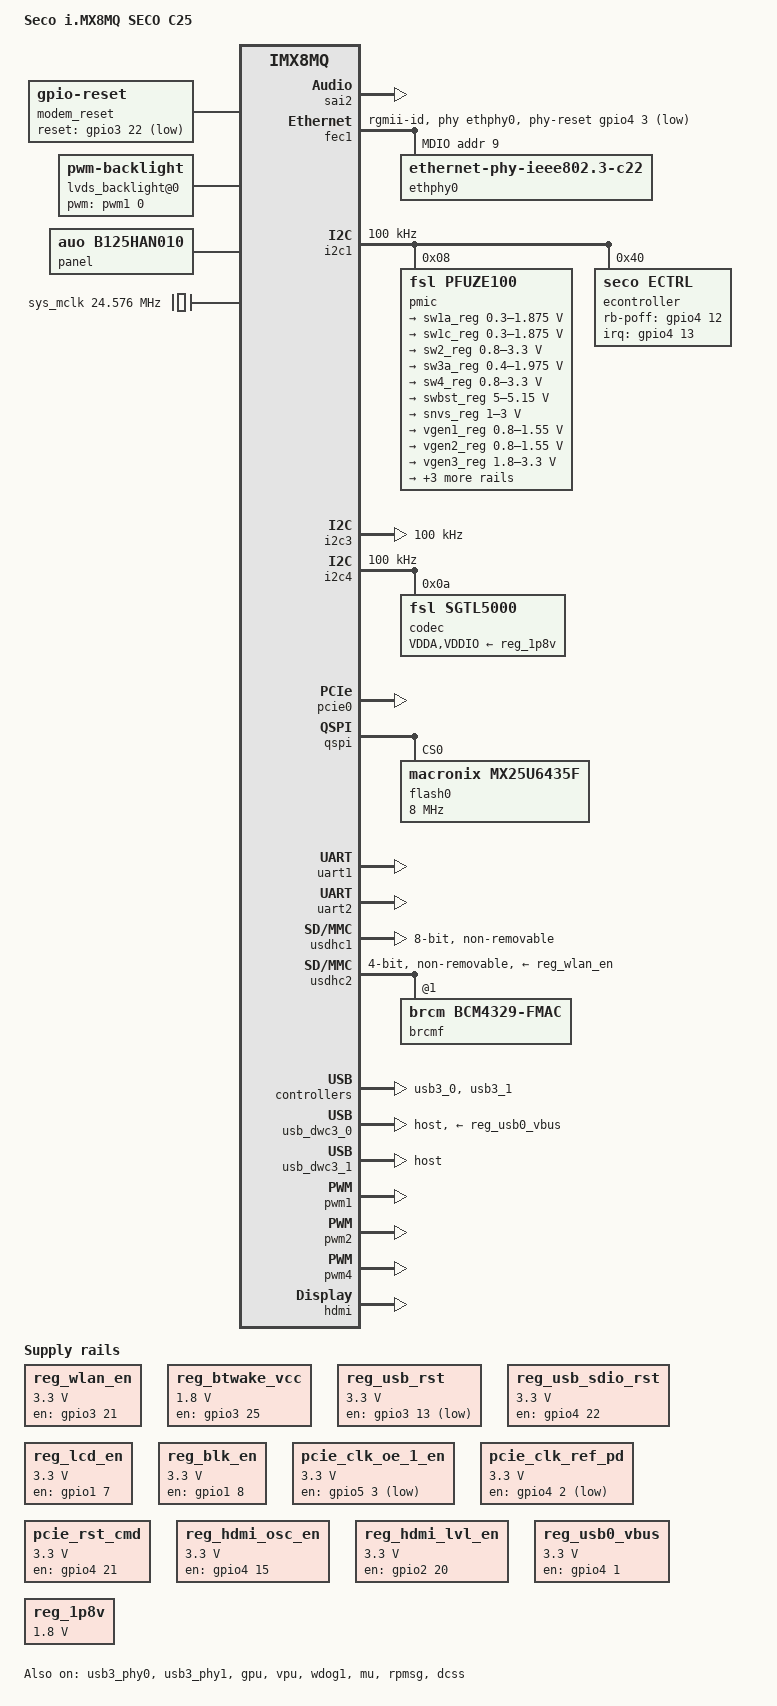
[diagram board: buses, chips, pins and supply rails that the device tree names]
/*
 * Copyright 2017 NXP
 *
 * This program is free software; you can redistribute it and/or
 * modify it under the terms of the GNU General Public License
 * as published by the Free Software Foundation; either version 2
 * of the License, or (at your option) any later version.
 *
 * This program is distributed in the hope that it will be useful,
 * but WITHOUT ANY WARRANTY; without even the implied warranty of
 * MERCHANTABILITY or FITNESS FOR A PARTICULAR PURPOSE.  See the
 * GNU General Public License for more details.
 */

/dts-v1/;

#include "fsl-imx8mq.dtsi"
#include "dt-bindings/net/ti-dp83867.h"
#include "dt-bindings/seco/ectrl.h"

/ {
	model = "Seco i.MX8MQ SECO C25";
	compatible = "fsl,imx8mq-evk", "fsl,seco-imx8mq-c25" , "fsl,imx8mq";

	chosen {
		bootargs = "console=ttymxc0,115200 earlycon=ec_imx6q,0x30860000,115200";
		stdout-path = &uart1;
	};

	aliases {
		i2c0 = &i2c1;
		i2c1 = &i2c2;
		i2c2 = &i2c3;
		i2c3 = &i2c4;
	};

	regulators {
		compatible = "simple-bus";
		#address-cells = <1>;
		#size-cells = <0>;

		modem_reset: modem-reset {
			compatible = "gpio-reset";
			reset-gpios = <&gpio3 22 GPIO_ACTIVE_LOW>;
			reset-delay-us = <2000>;
			reset-post-delay-ms = <40>;
			#reset-cells = <0>;
                };

		reg_wlan_en: wlanen_vmmc {
			compatible = "regulator-fixed";
			regulator-name = "WLANEN_3V3";
			regulator-min-microvolt = <3300000>;
			regulator-max-microvolt = <3300000>;
			gpio = <&gpio3 21 GPIO_ACTIVE_HIGH>;
			enable-active-high;
		};
			
		reg_btwake_vcc: btwake_vcc {
                        compatible = "regulator-fixed";
                        regulator-name = "BTWAKE_1V8";
                        regulator-min-microvolt = <1800000>;
                        regulator-max-microvolt = <1800000>;
                        gpio = <&gpio3 25 GPIO_ACTIVE_HIGH>;
                        enable-active-high;
                        regulator-boot-on;
                        regulator-always-on;
                };


		reg_usb_rst: usb_rst {
                        compatible = "regulator-fixed";
                        regulator-name = "USB_RST";
                        regulator-min-microvolt = <3300000>;
                        regulator-max-microvolt = <3300000>;
                        gpio = <&gpio3 13 GPIO_ACTIVE_LOW>;
                        enable-active-low;
			regulator-boot-on;
                        regulator-always-on;
                };

		reg_usb_sdio_rst: usb_sdio_rst {
                        compatible = "regulator-fixed";
                        regulator-name = "USB_SDIO_RST";
                        regulator-min-microvolt = <3300000>;
                        regulator-max-microvolt = <3300000>;
                        gpio = <&gpio4 22 GPIO_ACTIVE_HIGH>;
                        enable-active-high;
			regulator-boot-on;
                        regulator-always-on;
                };

		reg_lcd_en: reg_lcd_vdd_en {
                        compatible = "regulator-fixed";
                        regulator-name = "LCD_VDD_EN";
                        regulator-min-microvolt = <3300000>;
                        regulator-max-microvolt = <3300000>;
                        gpio = <&gpio1 7 GPIO_ACTIVE_HIGH>;
                        enable-active-high;
                        regulator-boot-on;
                        regulator-always-on;
                };

                reg_blk_en: reg_blk_vdd_en {
                        compatible = "regulator-fixed";
                        regulator-name = "BLK_VDD_EN";
                        regulator-min-microvolt = <3300000>;
                        regulator-max-microvolt = <3300000>;
                        gpio = <&gpio1 8 GPIO_ACTIVE_HIGH>;
                        enable-active-high;
                        regulator-boot-on;
                        regulator-always-on;
                };

                pcie_clk_oe_1_en: pcie_clk_oe1en {
                        compatible = "regulator-fixed";
                        regulator-name = "PCIE_CLK_OE1_PD";
                        regulator-min-microvolt = <3300000>;
                        regulator-max-microvolt = <3300000>;
                        gpio = <&gpio5 3 GPIO_ACTIVE_LOW>;
                        enable-active-low;
                        regulator-boot-on;
                        regulator-always-on;
                };

                pcie_clk_ref_pd: pcie_clk_ref_vdd {
                        compatible = "regulator-fixed";
                        regulator-name = "PCIE_CLK_REF_PD";
                        regulator-min-microvolt = <3300000>;
                        regulator-max-microvolt = <3300000>;
                        gpio = <&gpio4 2 GPIO_ACTIVE_LOW>;
                        enable-active-low;
                        regulator-boot-on;
                        regulator-always-on;
                };

                pcie_rst_cmd: pcie_rstcmd {
                        compatible = "regulator-fixed";
                        regulator-name = "PCIE_RST_CMD";
                        regulator-min-microvolt = <3300000>;
                        regulator-max-microvolt = <3300000>;
                        gpio = <&gpio4 21 GPIO_ACTIVE_LOW>;
                        enable-active-high;
                        regulator-always-on;
                };

                reg_hdmi_osc_en: reg_hdmi_oscen {
                        compatible = "regulator-fixed";
                        regulator-name = "HDMI_27MHZ_EN";
                        regulator-min-microvolt = <3300000>;
                        regulator-max-microvolt = <3300000>;
                        gpio = <&gpio4 15 GPIO_ACTIVE_HIGH>;
                        enable-active-high;
                };
	
                reg_hdmi_lvl_en: reg_hdmi_lvlen {
                        compatible = "regulator-fixed";
                        regulator-name = "HDMI_LVL_EN";
                        regulator-min-microvolt = <3300000>;
                        regulator-max-microvolt = <3300000>;
                        gpio = <&gpio2 20 GPIO_ACTIVE_HIGH>;
                        enable-active-high;
                };

                reg_usb0_vbus: reg_usb0en {
                        compatible = "regulator-fixed";
                        regulator-name = "USB0_VBUS";
                        regulator-min-microvolt = <3300000>;
                        regulator-max-microvolt = <3300000>;
                        gpio = <&gpio4 1 GPIO_ACTIVE_HIGH>;
                        enable-active-high;
                        regulator-boot-on;
                        regulator-always-on;
                };

		lvds_backlight@0 {
		       compatible = "pwm-backlight";
		       pwms = <&pwm1 0 100000>;

		       brightness-levels = < 0  1  2  3  4  5  6  7  8  9
				     10 11 12 13 14 15 16 17 18 19
				     20 21 22 23 24 25 26 27 28 29
				     30 31 32 33 34 35 36 37 38 39
				     40 41 42 43 44 45 46 47 48 49
				     50 51 52 53 54 55 56 57 58 59
				     60 61 62 63 64 65 66 67 68 69
				     70 71 72 73 74 75 76 77 78 79
				     80 81 82 83 84 85 86 87 88 89
				     90 91 92 93 94 95 96 97 98 99
				    100>;
		       default-brightness-level = <80>;
		};

		panel: edp_panel {
			compatible = "auo,b125han010";
			#address-cells = <2>;
			#size-cells = <1>;

        	};


	};

	busfreq {
		status = "disabled";
	};

        sys_mclk: clock-mclk {
                compatible = "fixed-clock";
                #clock-cells = <0>;
                clock-frequency = <24576000>;
        };

        reg_1p8v: regulator-1p8v {
                compatible = "regulator-fixed";
                regulator-name = "1P8V";
                regulator-min-microvolt = <1800000>;
                regulator-max-microvolt = <1800000>;
                regulator-always-on;
        };

	sound {
                compatible = "seco,asoc-sgtl5000";
                model = "seco_sgtl5000";
                cpu-dai = <&sai2>;
                audio-codec = <&codec>;
                /*asrc-controller = <&asrc0>;*/
                status = "okay";

        };

};

&sai2 {
        pinctrl-names = "default";
        pinctrl-0 = <&pinctrl_sai2>;
        assigned-clocks = <&clk IMX8MQ_CLK_SAI2>,
                        <&clk IMX8MQ_CLK_SAI2>;
        assigned-clock-parents = <&clk IMX8MQ_AUDIO_PLL2_OUT>;
        assigned-clock-rates = <0>, <22579200>;
        status = "okay";
};

&clk {
        assigned-clocks = <&clk IMX8MQ_AUDIO_PLL1>, <&clk IMX8MQ_AUDIO_PLL2>;
        assigned-clock-rates = <786432000>, <722534400>;
};

&iomuxc {
	pinctrl-names = "default";
        pinctrl-0 = <&pinctrl_hog>;

	seco-imx8mq-c25 {
		 pinctrl_hog: hoggrp {
                        fsl,pins = <
				/* HUB RESET */
				MX8MQ_IOMUXC_NAND_DATA07_GPIO3_IO13 	0x19 
				/* USB to SDIO Bridge RESET */
			        MX8MQ_IOMUXC_SAI2_RXC_GPIO4_IO22	0x19
				/* LVDS regulatore*/                            
                                MX8MQ_IOMUXC_SAI5_RXFS_GPIO3_IO19               0x19
                                MX8MQ_IOMUXC_GPIO1_IO07_GPIO1_IO7		0x19 /* MX8MQ_IOMUXC_SAI5_RXD3_GPIO3_IO24               0x19 */
                                MX8MQ_IOMUXC_GPIO1_IO08_GPIO1_IO8               0x19 /* MX8MQ_IOMUXC_SPDIF_EXT_CLK_GPIO5_IO5            0x19 */
                                MX8MQ_IOMUXC_SAI2_RXFS_GPIO4_IO21		0x19
				/* PCIe CLK ref Enable */
				MX8MQ_IOMUXC_SAI1_RXD0_GPIO4_IO2		0x19
				MX8MQ_IOMUXC_SPDIF_TX_GPIO5_IO3			0x19
				/* HDMI 27MHz Enable */
                                MX8MQ_IOMUXC_SAI1_TXD3_GPIO4_IO15               0xe
				/* BT_CFG9 STM32 interrupt */
                                MX8MQ_IOMUXC_SAI1_TXD1_GPIO4_IO13               0x82
                                MX8MQ_IOMUXC_SAI1_TXD0_GPIO4_IO12               0x82
                                MX8MQ_IOMUXC_SAI1_RXD4_GPIO4_IO6                0x82
                                MX8MQ_IOMUXC_GPIO1_IO08_GPIO1_IO8               0x82 /* PMIC_FAULT_INT# */
				
				MX8MQ_IOMUXC_SAI5_RXD1_GPIO3_IO22               0x82
                                MX8MQ_IOMUXC_SAI5_RXD0_GPIO3_IO21               0x19 /* Wlan En */
				MX8MQ_IOMUXC_SAI5_MCLK_GPIO3_IO25               0x19 /* Wlan En */
				
				MX8MQ_IOMUXC_SAI1_TXD7_GPIO4_IO19		0x1 /* SD2_P_EN */
				MX8MQ_IOMUXC_SAI1_RXC_GPIO4_IO1			0x42 /* USB_OTG_PEN */

				/* General GPIO */
				// MX8MQ_IOMUXC_GPIO1_IO02_GPIO1_IO2               0x42 /* GPIO0 */ 
				MX8MQ_IOMUXC_GPIO1_IO03_GPIO1_IO3               0x42 /* GPIO1 */
				MX8MQ_IOMUXC_GPIO1_IO04_GPIO1_IO4               0x42 /* GPIO2 */
				MX8MQ_IOMUXC_GPIO1_IO05_GPIO1_IO5               0x42 /* GPIO3 */
				MX8MQ_IOMUXC_GPIO1_IO06_GPIO1_IO6               0x42 /* GPIO4 */
				MX8MQ_IOMUXC_GPIO1_IO10_GPIO1_IO10              0x42 /* GPIO5 */
				MX8MQ_IOMUXC_GPIO1_IO11_GPIO1_IO11              0x42 /* GPIO6 */
				MX8MQ_IOMUXC_GPIO1_IO12_GPIO1_IO12              0x42 /* GPIO7 */

				MX8MQ_IOMUXC_SD2_WP_GPIO2_IO20			0x82 /* HDMI_LVL */
				MX8MQ_IOMUXC_SAI1_MCLK_GPIO4_IO20		0x19 /* USB_OC# */	
				MX8MQ_IOMUXC_SAI1_TXFS_GPIO4_IO10		0x19 /* BRIDGE_SD_WP_CPU */
				MX8MQ_IOMUXC_SAI3_MCLK_GPIO5_IO2		0x19 /* USB_VBUS_1V8 */

			>;
		};

		pinctrl_fec1: fec1grp {
			fsl,pins = <
				MX8MQ_IOMUXC_ENET_MDC_ENET1_MDC		0x3
				MX8MQ_IOMUXC_ENET_MDIO_ENET1_MDIO	0x23
				MX8MQ_IOMUXC_ENET_TD3_ENET1_RGMII_TD3	0x1f
				MX8MQ_IOMUXC_ENET_TD2_ENET1_RGMII_TD2	0x1f
				MX8MQ_IOMUXC_ENET_TD1_ENET1_RGMII_TD1	0x1f
				MX8MQ_IOMUXC_ENET_TD0_ENET1_RGMII_TD0	0x1f
				MX8MQ_IOMUXC_ENET_RD3_ENET1_RGMII_RD3	0x91
				MX8MQ_IOMUXC_ENET_RD2_ENET1_RGMII_RD2	0x91
				MX8MQ_IOMUXC_ENET_RD1_ENET1_RGMII_RD1	0x91
				MX8MQ_IOMUXC_ENET_RD0_ENET1_RGMII_RD0	0x91
				MX8MQ_IOMUXC_ENET_TXC_ENET1_RGMII_TXC	0x1f
				MX8MQ_IOMUXC_ENET_RXC_ENET1_RGMII_RXC	0x91
				MX8MQ_IOMUXC_ENET_RX_CTL_ENET1_RGMII_RX_CTL	0x91
				MX8MQ_IOMUXC_ENET_TX_CTL_ENET1_RGMII_TX_CTL	0x1f
				/* ENET RESET */
				MX8MQ_IOMUXC_SAI1_RXD1_GPIO4_IO3        0x19
			>;
		};

		pinctrl_i2c1: i2c1grp {
			fsl,pins = <
				MX8MQ_IOMUXC_I2C1_SCL_I2C1_SCL			0x4000007f
				MX8MQ_IOMUXC_I2C1_SDA_I2C1_SDA			0x4000007f
			>;
		};

		pinctrl_i2c2: i2c2grp {
			fsl,pins = <
				MX8MQ_IOMUXC_I2C2_SCL_I2C2_SCL			0x4000007f
				MX8MQ_IOMUXC_I2C2_SDA_I2C2_SDA			0x4000007f
			>;
		};

                pinctrl_i2c3: i2c3grp {
                        fsl,pins = <
                                MX8MQ_IOMUXC_I2C3_SCL_I2C3_SCL                  0x4000007f
                                MX8MQ_IOMUXC_I2C3_SDA_I2C3_SDA                  0x4000007f
                        >;
                };

                pinctrl_i2c4: i2c4grp {
                        fsl,pins = <
                                MX8MQ_IOMUXC_I2C4_SCL_I2C4_SCL                  0x4000007f
                                MX8MQ_IOMUXC_I2C4_SDA_I2C4_SDA                  0x4000007f
                        >;
                };

                pinctrl_sai2: sai2grp {
                        fsl,pins = <
                                MX8MQ_IOMUXC_SAI2_RXD0_SAI2_RX_DATA0    0xd6
                                MX8MQ_IOMUXC_SAI2_TXFS_SAI2_TX_SYNC     0xd6
                                MX8MQ_IOMUXC_SAI2_TXC_SAI2_TX_BCLK      0xd6
                                MX8MQ_IOMUXC_SAI2_MCLK_SAI2_MCLK        0xd6
                                MX8MQ_IOMUXC_SAI2_TXD0_SAI2_TX_DATA0    0xd6
                        >;
                };

		pinctrl_qspi: qspigrp {
                        fsl,pins = <
                                MX8MQ_IOMUXC_NAND_ALE_QSPI_A_SCLK       0x47
                                MX8MQ_IOMUXC_NAND_CE0_B_QSPI_A_SS0_B    0x47
                                MX8MQ_IOMUXC_NAND_DATA00_QSPI_A_DATA0   0x47
                                MX8MQ_IOMUXC_NAND_DATA01_QSPI_A_DATA1   0x47
                                MX8MQ_IOMUXC_NAND_DATA02_QSPI_A_DATA2   0x47
                                MX8MQ_IOMUXC_NAND_DATA03_QSPI_A_DATA3   0x47
                        >;
                };

		pinctrl_spi: spigrp {
                        fsl,pins = <
                                MX8MQ_IOMUXC_ECSPI1_SCLK_ECSPI1_SCLK    0x82
                                MX8MQ_IOMUXC_ECSPI1_MOSI_ECSPI1_MOSI    0x82
                                MX8MQ_IOMUXC_ECSPI1_MISO_ECSPI1_MISO    0x82
                                MX8MQ_IOMUXC_ECSPI1_SS0_GPIO5_IO9       0x19 /* MCP2517 */
                                MX8MQ_IOMUXC_SAI1_RXD7_GPIO4_IO9        0x82 /* PCF2123 */
                                MX8MQ_IOMUXC_NAND_CLE_GPIO3_IO5         0x43 /* RTC_INT_CPU */  
                        >;
                };

                pinctrl_can_int: mcp2515int {
                        fsl,pins = <
                                MX8MQ_IOMUXC_GPIO1_IO09_GPIO1_IO9       0x82 /* INT */

                        >;
                };


		pinctrl_uart1: uart1grp {
			fsl,pins = <
				MX8MQ_IOMUXC_UART1_RXD_UART1_DCE_RX		0xe
				MX8MQ_IOMUXC_UART1_TXD_UART1_DCE_TX		0xe
			>;
		};

		pinctrl_uart2: uart2grp {
                       fsl,pins = <
                               MX8MQ_IOMUXC_UART2_RXD_UART2_DCE_RX		0xe
                               MX8MQ_IOMUXC_UART2_TXD_UART2_DCE_TX		0xe
                               MX8MQ_IOMUXC_UART4_TXD_UART2_DCE_RTS_B		0xe
			       MX8MQ_IOMUXC_UART4_RXD_UART2_DCE_CTS_B		0xe
                        >;
                };

		pinctrl_uart4: uart4grp {
                       fsl,pins = <
                               MX8MQ_IOMUXC_ECSPI2_MOSI_UART4_DCE_TX           0xe
                               MX8MQ_IOMUXC_ECSPI2_SCLK_UART4_DCE_RX           0xe
                               MX8MQ_IOMUXC_ECSPI2_SS0_UART4_DCE_RTS_B         0xe
                               MX8MQ_IOMUXC_ECSPI2_MISO_UART4_DCE_CTS_B        0xe
			>;
		};

		pinctrl_spi2: spi2grp {
                       fsl,pins = <
                               MX8MQ_IOMUXC_ECSPI2_MOSI_ECSPI2_MOSI		0x79
                               MX8MQ_IOMUXC_ECSPI2_SCLK_ECSPI2_SCLK		0x79
                               MX8MQ_IOMUXC_ECSPI2_MISO_ECSPI2_MISO		0x79
                               MX8MQ_IOMUXC_ECSPI2_SS0_GPIO5_IO13		0x42
			       MX8MQ_IOMUXC_GPIO1_IO00_GPIO1_IO0		0x42
			>;
		};

		pinctrl_usdhc1: usdhc1grp {
			fsl,pins = <
				MX8MQ_IOMUXC_SD1_CLK_USDHC1_CLK			0x83
				MX8MQ_IOMUXC_SD1_CMD_USDHC1_CMD			0xc3
				MX8MQ_IOMUXC_SD1_DATA0_USDHC1_DATA0		0xc3
				MX8MQ_IOMUXC_SD1_DATA1_USDHC1_DATA1		0xc3
				MX8MQ_IOMUXC_SD1_DATA2_USDHC1_DATA2		0xc3
				MX8MQ_IOMUXC_SD1_DATA3_USDHC1_DATA3		0xc3
				MX8MQ_IOMUXC_SD1_DATA4_USDHC1_DATA4		0xc3
				MX8MQ_IOMUXC_SD1_DATA5_USDHC1_DATA5		0xc3
				MX8MQ_IOMUXC_SD1_DATA6_USDHC1_DATA6		0xc3
				MX8MQ_IOMUXC_SD1_DATA7_USDHC1_DATA7		0xc3
				MX8MQ_IOMUXC_SD1_STROBE_USDHC1_STROBE		0x83
				MX8MQ_IOMUXC_SD1_RESET_B_USDHC1_RESET_B		0xc1
			>;
		};

		pinctrl_usdhc1_100mhz: usdhc1grp100mhz {
			fsl,pins = <
				MX8MQ_IOMUXC_SD1_CLK_USDHC1_CLK			0x85
				MX8MQ_IOMUXC_SD1_CMD_USDHC1_CMD			0xc5
				MX8MQ_IOMUXC_SD1_DATA0_USDHC1_DATA0		0xc5
				MX8MQ_IOMUXC_SD1_DATA1_USDHC1_DATA1		0xc5
				MX8MQ_IOMUXC_SD1_DATA2_USDHC1_DATA2		0xc5
				MX8MQ_IOMUXC_SD1_DATA3_USDHC1_DATA3		0xc5
				MX8MQ_IOMUXC_SD1_DATA4_USDHC1_DATA4		0xc5
				MX8MQ_IOMUXC_SD1_DATA5_USDHC1_DATA5		0xc5
				MX8MQ_IOMUXC_SD1_DATA6_USDHC1_DATA6		0xc5
				MX8MQ_IOMUXC_SD1_DATA7_USDHC1_DATA7		0xc5
				MX8MQ_IOMUXC_SD1_STROBE_USDHC1_STROBE		0x85
				MX8MQ_IOMUXC_SD1_RESET_B_USDHC1_RESET_B		0xc1
			>;
		};

		pinctrl_usdhc1_200mhz: usdhc1grp200mhz {
			fsl,pins = <
				MX8MQ_IOMUXC_SD1_CLK_USDHC1_CLK			0x87
				MX8MQ_IOMUXC_SD1_CMD_USDHC1_CMD			0xc7
				MX8MQ_IOMUXC_SD1_DATA0_USDHC1_DATA0		0xc7
				MX8MQ_IOMUXC_SD1_DATA1_USDHC1_DATA1		0xc7
				MX8MQ_IOMUXC_SD1_DATA2_USDHC1_DATA2		0xc7
				MX8MQ_IOMUXC_SD1_DATA3_USDHC1_DATA3		0xc7
				MX8MQ_IOMUXC_SD1_DATA4_USDHC1_DATA4		0xc7
				MX8MQ_IOMUXC_SD1_DATA5_USDHC1_DATA5		0xc7
				MX8MQ_IOMUXC_SD1_DATA6_USDHC1_DATA6		0xc7
				MX8MQ_IOMUXC_SD1_DATA7_USDHC1_DATA7		0xc7
				MX8MQ_IOMUXC_SD1_STROBE_USDHC1_STROBE		0x87
				MX8MQ_IOMUXC_SD1_RESET_B_USDHC1_RESET_B		0xc1
			>;
		};

		pinctrl_usdhc2_gpio: usdhc2grpgpio {
			fsl,pins = <
				MX8MQ_IOMUXC_SD2_CD_B_GPIO2_IO12	0x41
				MX8MQ_IOMUXC_SD2_RESET_B_GPIO2_IO19	0x41
			>;
		};

		pinctrl_usdhc2: usdhc2grp {
			fsl,pins = <
				MX8MQ_IOMUXC_SD2_CLK_USDHC2_CLK			0x83
				MX8MQ_IOMUXC_SD2_CMD_USDHC2_CMD			0xc3
				MX8MQ_IOMUXC_SD2_DATA0_USDHC2_DATA0		0xc3
				MX8MQ_IOMUXC_SD2_DATA1_USDHC2_DATA1		0xc3
				MX8MQ_IOMUXC_SD2_DATA2_USDHC2_DATA2		0xc3
				MX8MQ_IOMUXC_SD2_DATA3_USDHC2_DATA3		0xc3
			>;
		};

		pinctrl_usdhc2_100mhz: usdhc2grp100mhz {
			fsl,pins = <
				MX8MQ_IOMUXC_SD2_CLK_USDHC2_CLK			0x85
				MX8MQ_IOMUXC_SD2_CMD_USDHC2_CMD			0xc5
				MX8MQ_IOMUXC_SD2_DATA0_USDHC2_DATA0		0xc5
				MX8MQ_IOMUXC_SD2_DATA1_USDHC2_DATA1		0xc5
				MX8MQ_IOMUXC_SD2_DATA2_USDHC2_DATA2		0xc5
				MX8MQ_IOMUXC_SD2_DATA3_USDHC2_DATA3		0xc5
			>;
		};

		pinctrl_usdhc2_200mhz: usdhc2grp200mhz {
			fsl,pins = <
				MX8MQ_IOMUXC_SD2_CLK_USDHC2_CLK			0x87
				MX8MQ_IOMUXC_SD2_CMD_USDHC2_CMD			0xc7
				MX8MQ_IOMUXC_SD2_DATA0_USDHC2_DATA0		0xc7
				MX8MQ_IOMUXC_SD2_DATA1_USDHC2_DATA1		0xc7
				MX8MQ_IOMUXC_SD2_DATA2_USDHC2_DATA2		0xc7
				MX8MQ_IOMUXC_SD2_DATA3_USDHC2_DATA3		0xc7
			>;
		};
		
		pinctrl_wlan_en: wlangrp {
                        fsl,pins = <
				MX8MQ_IOMUXC_SAI5_RXD2_GPIO3_IO23               0x19 /* Host Wake */
                        >;
                };

		pinctrl_wdog: wdoggrp {
			fsl,pins = <
				MX8MQ_IOMUXC_GPIO1_IO02_WDOG1_WDOG_B 0xc6
			>;
		};

		pinctrl_lvds0_pwm1: lvds0pwm1grp {
                                fsl,pins = <
                                        MX8MQ_IOMUXC_GPIO1_IO01_PWM1_OUT        0x000000d6
                                >;
                };

		pinctrl_pwm2: pwm2grp {
                                fsl,pins = <
                                        MX8MQ_IOMUXC_GPIO1_IO13_PWM2_OUT        0x000000d6
                                >;
                };

		pinctrl_pwm4: pwm4grp {
                                fsl,pins = <
                                        MX8MQ_IOMUXC_GPIO1_IO15_PWM4_OUT        0x000000d6
                                >;
                };
	};
};

&fec1 {
	pinctrl-names = "default";
	pinctrl-0 = <&pinctrl_fec1>;
	phy-mode = "rgmii-id";
	phy-handle = <&ethphy0>;
	phy-reset-gpios = <&gpio4 3 GPIO_ACTIVE_LOW>;
	phy-reset-duration = <1>;
	status = "okay";

	mdio {
		#address-cells = <1>;
		#size-cells = <0>;

		ethphy0: ethernet-phy@9 {
			compatible = "ethernet-phy-ieee802.3-c22";
			reg = <9>;
			ti,rx-internal-delay = <DP83867_RGMIIDCTL_2_00_NS>;
			ti,tx-internal-delay = <DP83867_RGMIIDCTL_2_00_NS>;
			ti,fifo-depth = <DP83867_PHYCR_FIFO_DEPTH_8_B_NIB>;
		
		};
	};
};

&i2c1 {
	clock-frequency = <100000>;
	pinctrl-names = "default";
	pinctrl-0 = <&pinctrl_i2c1>;
	status = "okay";

	pmic: pfuze100@08 {
		compatible = "fsl,pfuze100";
		reg = <0x08>;

		regulators {
			sw1a_reg: sw1ab {
				regulator-min-microvolt = <300000>;
				regulator-max-microvolt = <1875000>;
				regulator-always-on;
			};

			sw1c_reg: sw1c {
				regulator-min-microvolt = <300000>;
				regulator-max-microvolt = <1875000>;
				regulator-always-on;
			};

			sw2_reg: sw2 {
				regulator-min-microvolt = <800000>;
				regulator-max-microvolt = <3300000>;
				regulator-always-on;
			};

			sw3a_reg: sw3ab {
				regulator-min-microvolt = <400000>;
				regulator-max-microvolt = <1975000>;
				regulator-always-on;
			};

			sw4_reg: sw4 {
				regulator-min-microvolt = <800000>;
				regulator-max-microvolt = <3300000>;
				regulator-always-on;
			};

			swbst_reg: swbst {
				regulator-min-microvolt = <5000000>;
				regulator-max-microvolt = <5150000>;
			};

			snvs_reg: vsnvs {
				regulator-min-microvolt = <1000000>;
				regulator-max-microvolt = <3000000>;
				regulator-always-on;
			};

			vref_reg: vrefddr {
				regulator-always-on;
			};

			vgen1_reg: vgen1 {
				regulator-min-microvolt = <800000>;
				regulator-max-microvolt = <1550000>;
			};

			vgen2_reg: vgen2 {
				regulator-min-microvolt = <800000>;
				regulator-max-microvolt = <1550000>;
				regulator-always-on;
			};

			vgen3_reg: vgen3 {
				regulator-min-microvolt = <1800000>;
				regulator-max-microvolt = <3300000>;
				regulator-always-on;
			};

			vgen4_reg: vgen4 {
				regulator-min-microvolt = <1800000>;
				regulator-max-microvolt = <3300000>;
				regulator-always-on;
			};

			vgen5_reg: vgen5 {
				regulator-min-microvolt = <1800000>;
				regulator-max-microvolt = <3300000>;
				regulator-always-on;
			};

			vgen6_reg: vgen6 {
				regulator-min-microvolt = <1800000>;
				regulator-max-microvolt = <3300000>;
			};
		};
	};

	econtroller: ectrl@40 {
               compatible       = "seco,ectrl","fsl,imx8mq-seco-c25";
               reg              = <0x40>;

               interrupt-parent = <&gpio4>;
               interrupts       = <13 0>;

               rb-poff-gpio     = <&gpio4 12 0>;

               events           = <ECTRL_EVNT_PWR_BTN  ECTRL_EVNT_RST_BTN ECTRL_EVNT_SLEEP  ECTRL_EVNT_BATTERY ECTRL_EVNT_LID  ECTRL_EVNT_WAKE>;

               boot_device {

                       bootdev@0 {
                               id    = <ECTRL_BOOTDEV_USDHC1>;
                               label = "external SD";
                       };

                       bootdev@1 {
                               id    = <ECTRL_BOOTDEV_EMMC>;
                               label = "on board eMMC";
                       };

               };

       };


};

&i2c2 {
	clock-frequency = <100000>;
	pinctrl-names = "default";
	pinctrl-0 = <&pinctrl_i2c2>;
	status = "disabled";
};

&i2c3 {
        clock-frequency = <100000>;
        pinctrl-names = "default";
        pinctrl-0 = <&pinctrl_i2c3>;
        status = "okay";
        adv_bridge: sn65dsi84@2d {
                reg = <0x2d>;
                pd = <&gpio3 19 GPIO_ACTIVE_HIGH>;
                status = "disabled";
        };

	edp_bridge: sn65dsi86@2d {
		reg = <0x2d>;
		pd-gpios = <&gpio3 19 GPIO_ACTIVE_HIGH>;
		vcc-supply = <&pcie_rst_cmd>;
		clocks = <&osc_27m>;
		status = "disabled";
	};
	
};

&i2c4 {
	clock-frequency = <100000>;
	pinctrl-names = "default";
	pinctrl-0 = <&pinctrl_i2c4>;
	status = "okay";
	
	codec: sgtl5000@a {
                #sound-dai-cells = <0>;
                compatible = "fsl,sgtl5000";
                reg = <0xa>;
                VDDA-supply = <&reg_1p8v>;
                VDDIO-supply = <&reg_1p8v>;
                clocks = <&sys_mclk>;
        };

};

&pcie0{
        status = "okay";
};

&qspi {
        pinctrl-names = "default";
        pinctrl-0 = <&pinctrl_qspi>;
        status = "okay";

        flash0: n25q256a@0 {
                reg = <0>;
                #address-cells = <1>;
                #size-cells = <1>;
                compatible = "macronix,mx25u6435f";
                spi-max-frequency = <8000000>;
        };
};

&ecspi1 {
        fsl,spi-num-chipselects = <2>;
        cs-gpios                = <&gpio4 9 0>, <&gpio5 9 0>;
        pinctrl-names = "default";
        pinctrl-0 = <&pinctrl_spi>;
        #address-cells = <1>;
        #size-cells = <0>;
        status = "disabled";

        rtc: pcf2123@0 {
                compatible        = "nxp,rtc-pcf2123";
                reg               = <0>;
                #address-cells = <1>;
                #size-cells = <1>;
                spi-max-frequency = <1000000>;
                spi-cs-high;
                status = "okay";
        };

        can_spi: mcp258x@1 {
                compatible = "microchip,mcp2517fd";
                pinctrl-names = "default";
                pinctrl-0 = <&pinctrl_can_int>;
                reg = <1>;
                #address-cells = <1>;
                #size-cells = <1>;
                interrupt-parent = <&gpio1>;
                interrupts = <9 IRQ_TYPE_EDGE_FALLING>;
                spi-max-frequency = <10000000>;
                clocks = <&mcp251x_clock>;
                status = "okay";
        };

};


&ecspi2 {
        fsl,spi-num-chipselects = <2>;
        cs-gpios                = <&gpio5 13 0>, <&gpio1 0 0>;
        pinctrl-names = "default";
        pinctrl-0 = <&pinctrl_spi2>;
        #address-cells = <1>;
        #size-cells = <0>;
        status = "disabled";
};

&uart1 { /* console */
	pinctrl-names = "default";
	pinctrl-0 = <&pinctrl_uart1>;
	assigned-clocks = <&clk IMX8MQ_CLK_UART1>;
	assigned-clock-parents = <&clk IMX8MQ_CLK_25M>;
	status = "okay";
};

&uart2 { /* BT */
        pinctrl-names = "default";
        pinctrl-0 = <&pinctrl_uart2>;
        assigned-clocks = <&clk IMX8MQ_CLK_UART2>;
        assigned-clock-parents = <&clk IMX8MQ_SYS1_PLL_80M>;
        fsl,uart-has-rtscts;
        resets = <&modem_reset>;
        status = "okay";
};

&uart4 { /* BT */
        pinctrl-names = "default";
        pinctrl-0 = <&pinctrl_uart4>;
        assigned-clocks = <&clk IMX8MQ_CLK_UART4>;
        assigned-clock-parents = <&clk IMX8MQ_SYS1_PLL_80M>;
        fsl,uart-has-rtscts;
        resets = <&modem_reset>;
        status = "disabled";
};

&usdhc1 {
	pinctrl-names = "default", "state_100mhz", "state_200mhz";
	pinctrl-0 = <&pinctrl_usdhc1>;
	pinctrl-1 = <&pinctrl_usdhc1_100mhz>;
	pinctrl-2 = <&pinctrl_usdhc1_200mhz>;
	bus-width = <8>;
	non-removable;
	status = "okay";
};

&usdhc2 {
	pinctrl-names = "default", "state_100mhz", "state_200mhz";
	pinctrl-0 = <&pinctrl_usdhc2>, <&pinctrl_usdhc2_gpio>,<&pinctrl_wlan_en>;
	pinctrl-1 = <&pinctrl_usdhc2_100mhz>, <&pinctrl_usdhc2_gpio>, <&pinctrl_wlan_en>;
	pinctrl-2 = <&pinctrl_usdhc2_200mhz>, <&pinctrl_usdhc2_gpio>, <&pinctrl_wlan_en>;
	bus-width = <4>;
	non-removable;
	vmmc-supply = <&reg_wlan_en>;
	status = "okay";

	#address-cells = <1>;
        #size-cells = <0>;


	brcmf: bcrmf@1 {
		reg = <1>;
                compatible = "brcm,bcm4329-fmac";
	};

};

&usb3_phy0 {
	status = "okay";
};

&usb3_0 {
	status = "okay";
};

&usb_dwc3_0 {
	status = "okay";
	vbus-supply = <&reg_usb0_vbus>;
	dr_mode = "host";
};

&usb3_phy1 {
        status = "okay";
};

&usb3_1 {
        status = "okay";
};

&usb_dwc3_1 {
        status = "okay";
        dr_mode = "host";
};

&gpu_pd {
        power-supply = <&sw1a_reg>;
};

&vpu_pd {
        power-supply = <&sw1c_reg>;
};

&gpu {
        status = "okay";
};

&vpu {
        status = "okay";
};

&wdog1 {
	pinctrl-names = "default";
	pinctrl-0 = <&pinctrl_wdog>;
	fsl,ext-reset-output;
	status = "okay";
};

&mu {
        status = "okay";
};

&pwm1 {
        pinctrl-names = "default";
        pinctrl-0 = <&pinctrl_lvds0_pwm1>;
        status = "okay";
};

&pwm2 {
        pinctrl-names = "default";
        pinctrl-0 = <&pinctrl_pwm2>;
        status = "okay";
};

&pwm4 {
        pinctrl-names = "default";
        pinctrl-0 = <&pinctrl_pwm4>;
        status = "okay";
};

&rpmsg{
        /*
         * 64K for one rpmsg instance:
         * --0xb8000000~0xb800ffff: pingpong
         */
        vdev-nums = <1>;
        reg = <0x0 0xb8000000 0x0 0x10000>;
        status = "okay";
};

&A53_0 {
        operating-points = <
                /* kHz    uV */
                1500000 1000000
                1300000 1000000
                1000000 900000
                800000  900000
        >;
};

&dcss {
        status = "okay";

        disp-dev = "hdmi_disp";
};

&hdmi {
        osc_en-supply = <&reg_hdmi_osc_en>;
        status = "okay";
};

